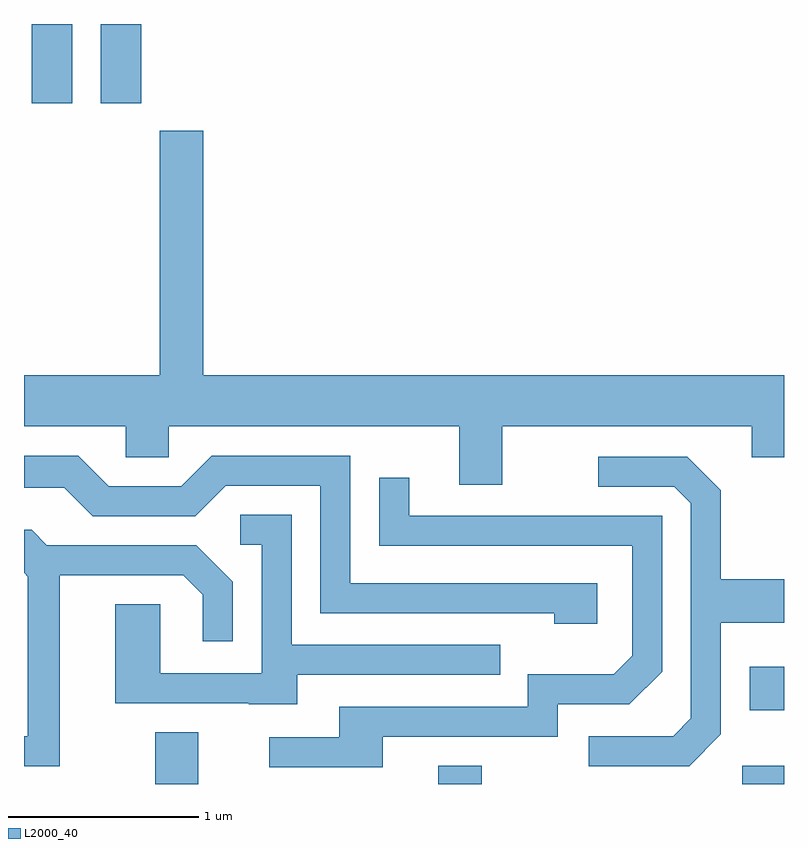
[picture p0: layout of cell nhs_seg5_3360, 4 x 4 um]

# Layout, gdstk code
import gdstk
lib = gdstk.Library(unit=1e-6, precision=1e-09)
def R(c, l, rs):  # rectangles x0, y0, x1, y1
    for r in rs: c.add(gdstk.rectangle(r[:2], r[2:], *l))
def P(c, l, *ps):  # polygons
    for p in ps: c.add(gdstk.Polygon(p, *l))
L2000_40 = (2000, 40)

nhs_seg5_3360 = lib.new_cell('nhs_seg5_3360')
R(nhs_seg5_3360, L2000_40, [(286.301,1406.072,286.529,1406.344), (287.791,1406.072,288.019,1406.169), (289.391,1406.072,289.611,1406.169), (289.431,1406.461,289.611,1406.689), (285.651,1409.656,285.864,1410.072), (286.016,1409.656,286.229,1410.072)])
P(nhs_seg5_3360, L2000_40, [(288.129,1407.956),(289.441,1407.956),(289.441,1407.791),(289.611,1407.791),(289.611,1408.224),(286.554,1408.224),(286.554,1409.509),(286.326,1409.509),(286.326,1408.224),(285.611,1408.224),(285.611,1407.956),(286.146,1407.956),(286.146,1407.791),(286.374,1407.791),(286.374,1407.956),(287.901,1407.956),(287.901,1407.646),(288.129,1407.646)],
  [(288.629,1407.129),(287.329,1407.129),(287.329,1407.799),(286.599,1407.799),(286.439,1407.639),(286.057,1407.639),(285.897,1407.799),(285.611,1407.799),(285.611,1407.631),(285.824,1407.631),(285.974,1407.481),(286.512,1407.481),(286.672,1407.641),(287.171,1407.641),(287.171,1406.971),(288.401,1406.971),(288.401,1406.916),(288.629,1406.916)],
  [(289.279,1406.334),(289.279,1406.921),(289.611,1406.921),(289.611,1407.149),(289.279,1407.149),(289.279,1407.617),(289.102,1407.794),(288.633,1407.794),(288.633,1407.636),(289.034,1407.636),(289.121,1407.549),(289.121,1406.417),(289.029,1406.324),(288.583,1406.324),(288.583,1406.166),(289.112,1406.166)],
  [(287.499,1406.321),(288.419,1406.321),(288.419,1406.491),(288.797,1406.491),(288.969,1406.664),(288.969,1407.484),(287.639,1407.484),(287.639,1407.683),(287.481,1407.683),(287.481,1407.326),(288.811,1407.326),(288.811,1406.747),(288.714,1406.649),(288.261,1406.649),(288.261,1406.479),(287.271,1406.479),(287.271,1406.319),(286.903,1406.319),(286.903,1406.161),(287.499,1406.161)],
  [(287.049,1406.646),(288.118,1406.646),(288.118,1406.804),(287.019,1406.804),(287.019,1407.489),(286.748,1407.489),(286.748,1407.331),(286.861,1407.331),(286.861,1406.654),(286.329,1406.654),(286.329,1407.019),(286.091,1407.019),(286.091,1406.496),(286.795,1406.496),(286.795,1406.491),(287.049,1406.491)],
  [(285.799,1407.171),(286.449,1407.171),(286.551,1407.069),(286.551,1406.823),(286.709,1406.823),(286.709,1407.137),(286.517,1407.329),(285.732,1407.329),(285.652,1407.409),(285.611,1407.409),(285.611,1407.184),(285.631,1407.164),(285.631,1406.324),(285.611,1406.324),(285.611,1406.166),(285.799,1406.166)])

lib.write_gds('nhs_seg5_3360.gds')
